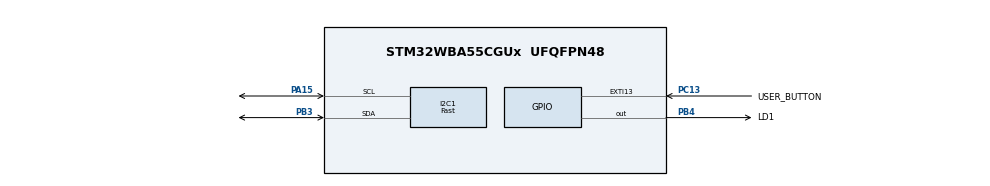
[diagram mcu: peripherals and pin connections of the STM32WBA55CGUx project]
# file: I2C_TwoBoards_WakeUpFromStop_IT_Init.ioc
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CORTEX_M33_NS.userName=CORTEX_M33
I2C1.AddressingMode=I2C_ADDRESSINGMODE_7BIT
I2C1.Analog_Filter=I2C_ANALOGFILTER_DISABLE
I2C1.DualAddressMode=I2C_DUALADDRESS_DISABLE
I2C1.GeneralCallMode=I2C_GENERALCALL_DISABLE
I2C1.I2C_Coeff_DF=0
I2C1.I2C_Fall_Time=10
I2C1.I2C_Rise_Time=100
I2C1.I2C_Speed_Mode=I2C_Fast
I2C1.NoStretchMode=I2C_NOSTRETCH_DISABLE
I2C1.OwnAddress=0x5A
I2C1.Speed=400
I2C1.Timing=0x40300B22
Mcu.Family=STM32WBA
Mcu.Name=STM32WBA55CGUx
Mcu.Package=UFQFPN48
NVIC.EXTI13_IRQn=true\:0\:0\:false\:false\:true\:true\:true\:true
NVIC.PriorityGroup=NVIC_PRIORITYGROUP_4
OSC_IN.Mode=HSE-External-Oscillator
OSC_IN.Signal=RCC_OSC_IN
OSC_OUT.Mode=HSE-External-Oscillator
OSC_OUT.Signal=RCC_OSC_OUT
PA15\ (JTDI).GPIO_Pu=GPIO_PULLUP
PA15\ (JTDI).GPIO_Speed=GPIO_SPEED_FREQ_HIGH
PA15\ (JTDI).Mode=I2C
PA15\ (JTDI).Signal=I2C1_SCL
PB3\ (JTDO/TRACESWO).GPIO_Pu=GPIO_PULLUP
PB3\ (JTDO/TRACESWO).GPIO_Speed=GPIO_SPEED_FREQ_HIGH
PB3\ (JTDO/TRACESWO).Mode=I2C
PB3\ (JTDO/TRACESWO).Signal=I2C1_SDA
PB4\ (NJTRST).GPIO_Label=LD1
PB4\ (NJTRST).PinState=GPIO_PIN_SET
PB4\ (NJTRST).Signal=GPIO_Output
PC13.GPIO_Label=USER_BUTTON
PC13.GPIO_ModeDefaultEXTI=GPIO_MODE_IT_FALLING
PC13.GPIO_PuPd=GPIO_PULLUP
PC13.Signal=GPXTI13
ProjectManager.HeapSize=0x200
ProjectManager.StackSize=0x400
ProjectManager.TargetToolchain=EWARM V9.20
RCC.ADCFreq_Value=100000000
RCC.AHB5CLKDivider=DIV4
RCC.AHBFreq_Value=100000000
RCC.APB1Freq_Value=100000000
RCC.APB1TimFreq_Value=100000000
RCC.APB2Freq_Value=100000000
RCC.APB2TimFreq_Value=100000000
RCC.CortexFreq_Value=12500000
RCC.HCLKFreq_Value=100000000
RCC.HSE_VALUE=32000000
RCC.HSI_VALUE=16000000
RCC.LSE_VALUE=32768
RCC.LSI1_VALUE=32000
RCC.LSI2_VALUE=32000
RCC.PLLFRACN=0
RCC.PLLM=4
RCC.PLLN=25
RCC.PLLSourceVirtual=RCC_PLLSOURCE_HSE
RCC.SYSCLKFreq_VALUE=100000000
RCC.SYSCLKSourceVirtual=RCC_SYSCLKSOURCE_PLLCLK
RCC.VCOOutputFreq_Value=200000000
VP_CORTEX_M33_NS_VS_Hclk.Mode=Hclk_Mode
VP_ICACHE_VS_ICACHE.Mode=DirectMappedCache
VP_MEMORYMAP_VS_MEMORYMAP.Mode=CurAppReg
VP_PWR_VS_SECSignals.Mode=Security/Privilege
board=custom

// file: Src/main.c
/* USER CODE BEGIN Header */
/**
  ******************************************************************************
  * @file    Examples_LL/I2C/I2C_TwoBoards_WakeUpFromStop_IT_Init/Src/main.c
  * @author  MCD Application Team
  * @brief   This example describes how to send/receive bytes over I2C IP using
  *          the STM32WBAxx I2C LL API.
  *          Peripheral initialization done using LL unitary services functions.
  ******************************************************************************
  * @attention
  *
  * Copyright (c) 2023 STMicroelectronics.
  * All rights reserved.
  *
  * This software is licensed under terms that can be found in the LICENSE file
  * in the root directory of this software component.
  * If no LICENSE file comes with this software, it is provided AS-IS.
  *
  ******************************************************************************
  */
/* USER CODE END Header */
#include "main.h"

/* USER CODE BEGIN PD */
/**
  * @brief I2C devices settings
  */

/**
  * @brief Define related to SlaveTransmit process
  */
#define SLAVE_BYTE_TO_SEND       0xA5

/* USER CODE END PD */

/* USER CODE BEGIN PV */

#ifndef SLAVE_BOARD
/**
  * @brief Variables related to MasterReceive process
  */
uint8_t      aReceiveBuffer[0xF] = {0};
__IO uint8_t ubReceiveIndex      = 0;
__IO uint8_t ubButtonPress       = 0;
#endif /* SLAVE_BOARD */

/* USER CODE END PV */

void SystemClock_Config(void);
static void MX_GPIO_Init(void);
static void MX_I2C1_Init(void);
static void MX_ICACHE_Init(void);
/* USER CODE BEGIN PFP */
#ifndef SLAVE_BOARD
#endif /* MASTER_BOARD */
void     LED_On(void);
void     LED_Off(void);
void     LED_Blinking(uint32_t Period);
#ifdef SLAVE_BOARD
void     Configure_PWR(void);
void     EnterSTOP0Mode(void);
#else /* MASTER_BOARD */
void     WaitForUserButtonPress(void);
void     Handle_I2C_Master(void);
#endif /* SLAVE_BOARD */

/* USER CODE END PFP */

int main(void)
{

  /* MCU Configuration--------------------------------------------------------*/

  /* Reset of all peripherals, Initializes the Flash interface and the Systick. */

  /* System interrupt init*/
  NVIC_SetPriorityGrouping(NVIC_PRIORITYGROUP_4);

  /* Enable PWR clock interface */

  LL_AHB4_GRP1_EnableClock(LL_AHB4_GRP1_PERIPH_PWR);

  /* Configure the system clock */
  SystemClock_Config();

  /* Initialize all configured peripherals */
  MX_GPIO_Init();
  MX_I2C1_Init();
  MX_ICACHE_Init();
  /* USER CODE BEGIN 2 */
#ifndef SLAVE_BOARD
#endif /* SLAVE_BOARD */

  /* Set LD1 Off */
  LED_Off();

#ifdef SLAVE_BOARD
  /* Configure Power IP */
  Configure_PWR();

  /* Enter Stop0 mode */
  EnterSTOP0Mode();
#else /* MASTER_BOARD */
  /* Wait for USER push-button press to start transfer */
  WaitForUserButtonPress();

  /* Handle I2C1 events (Master) */
  Handle_I2C_Master();
#endif /* SLAVE_BOARD */

  /* USER CODE END 2 */

  /* Infinite loop */
  while (1)
  {

  }
}

void SystemClock_Config(void)
{
  LL_FLASH_SetLatency(LL_FLASH_LATENCY_3);
  while(LL_FLASH_GetLatency()!= LL_FLASH_LATENCY_3)
  {
  }

  LL_PWR_SetRegulVoltageScaling(LL_PWR_REGU_VOLTAGE_SCALE1);
  LL_RCC_HSE_Enable();

   /* Wait till HSE is ready */
  while(LL_RCC_HSE_IsReady() != 1)
  {
  }

  LL_RCC_PLL1_ConfigDomain_SYS(LL_RCC_PLL1SOURCE_HSE, 4, 25, 2);
  LL_RCC_PLL1_EnableDomain_PLL1R();
  LL_RCC_PLL1_SetVCOInputRange(LL_RCC_PLLINPUTRANGE_8_16);
  LL_RCC_PLL1_Enable();

   /* Wait till PLL is ready */
  while(LL_RCC_PLL1_IsReady() != 1)
  {
  }

  LL_RCC_SetSysClkSource(LL_RCC_SYS_CLKSOURCE_PLL1R);

   /* Wait till System clock is ready */
  while(LL_RCC_GetSysClkSource() != LL_RCC_SYS_CLKSOURCE_STATUS_PLL1R)
  {
  }

  LL_RCC_SetAHBPrescaler(LL_RCC_SYSCLK_DIV_1);
  LL_RCC_SetAHB5Prescaler(LL_RCC_AHB5_DIV_4);
  LL_RCC_SetAPB1Prescaler(LL_RCC_APB1_DIV_1);
  LL_RCC_SetAPB2Prescaler(LL_RCC_APB2_DIV_1);
  LL_RCC_SetAPB7Prescaler(LL_RCC_APB7_DIV_1);

  LL_Init1msTick(100000000);

  LL_SetSystemCoreClock(100000000);
}

static void MX_I2C1_Init(void)
{

  LL_I2C_InitTypeDef I2C_InitStruct = {0};

  LL_GPIO_InitTypeDef GPIO_InitStruct = {0};

  LL_RCC_SetI2CClockSource(LL_RCC_I2C1_CLKSOURCE_PCLK1);

  LL_AHB2_GRP1_EnableClock(LL_AHB2_GRP1_PERIPH_GPIOB);
  LL_AHB2_GRP1_EnableClock(LL_AHB2_GRP1_PERIPH_GPIOA);
  /**I2C1 GPIO Configuration
  PB3 (JTDO/TRACESWO)   ------> I2C1_SDA
  PA15 (JTDI)   ------> I2C1_SCL
  */
  GPIO_InitStruct.Pin = LL_GPIO_PIN_3;
  GPIO_InitStruct.Mode = LL_GPIO_MODE_ALTERNATE;
  GPIO_InitStruct.Speed = LL_GPIO_SPEED_FREQ_HIGH;
  GPIO_InitStruct.OutputType = LL_GPIO_OUTPUT_OPENDRAIN;
  GPIO_InitStruct.Pull = LL_GPIO_PULL_UP;
  GPIO_InitStruct.Alternate = LL_GPIO_AF_4;
  LL_GPIO_Init(GPIOB, &GPIO_InitStruct);

  GPIO_InitStruct.Pin = LL_GPIO_PIN_15;
  GPIO_InitStruct.Mode = LL_GPIO_MODE_ALTERNATE;
  GPIO_InitStruct.Speed = LL_GPIO_SPEED_FREQ_HIGH;
  GPIO_InitStruct.OutputType = LL_GPIO_OUTPUT_OPENDRAIN;
  GPIO_InitStruct.Pull = LL_GPIO_PULL_UP;
  GPIO_InitStruct.Alternate = LL_GPIO_AF_4;
  LL_GPIO_Init(GPIOA, &GPIO_InitStruct);

  /* Peripheral clock enable */
  LL_APB1_GRP1_EnableClock(LL_APB1_GRP1_PERIPH_I2C1);

  /* USER CODE BEGIN I2C1_Init 1 */
#ifdef SLAVE_BOARD
  /* Set I2C1 clock source as SYSCLK */
  LL_RCC_SetI2CClockSource(LL_RCC_I2C1_CLKSOURCE_HSI);
#endif
  /* Configure NVIC for I2C1 */
  /* Configure Event IT:
   *  - Set priority for I2C1_EV_IRQn
   *  - Enable I2C1_EV_IRQn
   */
  NVIC_SetPriority(I2C1_EV_IRQn, 0);
  NVIC_EnableIRQ(I2C1_EV_IRQn);

  /* Configure Error IT:
   *  - Set priority for I2C1_ER_IRQn
   *  - Enable I2C1_ER_IRQn
   */
  NVIC_SetPriority(I2C1_ER_IRQn, 0);
  NVIC_EnableIRQ(I2C1_ER_IRQn);

  /* USER CODE END I2C1_Init 1 */

  /** I2C Initialization
  */
  LL_I2C_EnableAutoEndMode(I2C1);
  LL_I2C_DisableOwnAddress2(I2C1);
  LL_I2C_DisableGeneralCall(I2C1);
  LL_I2C_EnableClockStretching(I2C1);
  I2C_InitStruct.PeripheralMode = LL_I2C_MODE_I2C;
  I2C_InitStruct.Timing = 0x40300B22;
  I2C_InitStruct.AnalogFilter = LL_I2C_ANALOGFILTER_DISABLE;
  I2C_InitStruct.DigitalFilter = 0;
  I2C_InitStruct.OwnAddress1 = 0x5A;
  I2C_InitStruct.TypeAcknowledge = LL_I2C_ACK;
  I2C_InitStruct.OwnAddrSize = LL_I2C_OWNADDRESS1_7BIT;
  LL_I2C_Init(I2C1, &I2C_InitStruct);
  LL_I2C_SetOwnAddress2(I2C1, 0, LL_I2C_OWNADDRESS2_NOMASK);
  /* USER CODE BEGIN I2C1_Init 2 */

#ifdef SLAVE_BOARD
  /* Configure the Own Address1 :
   *  - OwnAddress1 is SLAVE_OWN_ADDRESS
   *  - OwnAddrSize is LL_I2C_OWNADDRESS1_7BIT
   *  - Own Address1 is enabled
   */
  LL_I2C_SetOwnAddress1(I2C1, SLAVE_OWN_ADDRESS, LL_I2C_OWNADDRESS1_7BIT);
  LL_I2C_EnableOwnAddress1(I2C1);

  /* Enable Wake Up From Stop */
  LL_I2C_EnableWakeUpFromStop(I2C1);

  /*Enable I2C1 address match/error interrupts:
   *  - Enable Address Match Interrupt
   *  - Enable Not acknowledge received interrupt
   *  - Enable Error interrupts
   *  - Enable Stop interrupt
   */
  LL_I2C_EnableIT_ADDR(I2C1);

#else /* MASTER_BOARD */
  /* Enable I2C1 transfer complete/error interrupts:
   *  - Enable Receive Interrupt
   *  - Enable Not acknowledge received interrupt
   *  - Enable Error interrupts
   *  - Enable Stop interrupt
   */
  LL_I2C_EnableIT_RX(I2C1);
#endif /* SLAVE_BOARD */
  LL_I2C_EnableIT_NACK(I2C1);
  LL_I2C_EnableIT_ERR(I2C1);
  LL_I2C_EnableIT_STOP(I2C1);

  /* USER CODE END I2C1_Init 2 */

}

static void MX_ICACHE_Init(void)
{

  /** Enable instruction cache in 1-way (direct mapped cache)
  */
  LL_ICACHE_SetMode(LL_ICACHE_1WAY);
  LL_ICACHE_Enable();

}

static void MX_GPIO_Init(void)
{
  LL_EXTI_InitTypeDef EXTI_InitStruct = {0};
  LL_GPIO_InitTypeDef GPIO_InitStruct = {0};

  /* GPIO Ports Clock Enable */
  LL_AHB2_GRP1_EnableClock(LL_AHB2_GRP1_PERIPH_GPIOC);
  LL_AHB2_GRP1_EnableClock(LL_AHB2_GRP1_PERIPH_GPIOB);
  LL_AHB2_GRP1_EnableClock(LL_AHB2_GRP1_PERIPH_GPIOA);

  /**/
  LL_GPIO_SetOutputPin(LD1_GPIO_Port, LD1_Pin);

  /**/
  LL_EXTI_SetEXTISource(LL_EXTI_CONFIG_PORTC, LL_EXTI_CONFIG_LINE13);

  /**/
  EXTI_InitStruct.Line_0_31 = LL_EXTI_LINE_13;
  EXTI_InitStruct.LineCommand = ENABLE;
  EXTI_InitStruct.Mode = LL_EXTI_MODE_IT;
  EXTI_InitStruct.Trigger = LL_EXTI_TRIGGER_FALLING;
  LL_EXTI_Init(&EXTI_InitStruct);

  /**/
  LL_GPIO_SetPinPull(USER_BUTTON_GPIO_Port, USER_BUTTON_Pin, LL_GPIO_PULL_UP);

  /**/
  LL_GPIO_SetPinMode(USER_BUTTON_GPIO_Port, USER_BUTTON_Pin, LL_GPIO_MODE_INPUT);

  /**/
  GPIO_InitStruct.Pin = LD1_Pin;
  GPIO_InitStruct.Mode = LL_GPIO_MODE_OUTPUT;
  GPIO_InitStruct.Speed = LL_GPIO_SPEED_FREQ_LOW;
  GPIO_InitStruct.OutputType = LL_GPIO_OUTPUT_PUSHPULL;
  GPIO_InitStruct.Pull = LL_GPIO_PULL_NO;
  LL_GPIO_Init(LD1_GPIO_Port, &GPIO_InitStruct);

  /* EXTI interrupt init*/
  NVIC_SetPriority(EXTI13_IRQn, NVIC_EncodePriority(NVIC_GetPriorityGrouping(),0, 0));
  NVIC_EnableIRQ(EXTI13_IRQn);

}

/* USER CODE BEGIN 4 */
#ifndef SLAVE_BOARD
#endif /* MASTER_BOARD */

#ifdef SLAVE_BOARD
/**
  * @brief  Function to configure and initialize PWR IP.
  * @param  None
  * @retval None
  */
void Configure_PWR(void)
{
}

/**
  * @brief  Function to configure and enter in Stop0 Mode.
  * @param  None
  * @retval None
  */
void EnterSTOP0Mode(void)
{
  /** Request to enter Stop0 mode:
    *  - Following procedure describe in STM32WBAxx Reference Manual
    *  - See PWR part, section Low-power modes, STOP0 mode
    */
  /* Set STOP0 mode when CPU enters deepsleep */
  LL_PWR_SetPowerMode(LL_PWR_MODE_STOP0);

  /* Set SLEEPDEEP bit of Cortex System Control Register */
  LL_LPM_EnableDeepSleep();

  /* Request Wait For Interrupt */
  __WFI();
}
#endif /* SLAVE_BOARD */

/**
  * @brief  Turn-on LD1.
  * @param  None
  * @retval None
  */
void LED_On(void)
{
  /* Turn LD1 on */
  LL_GPIO_ResetOutputPin(LD1_GPIO_Port, LD1_Pin);
}

/**
  * @brief  Turn-off LD1.
  * @param  None
  * @retval None
  */
void LED_Off(void)
{
  /* Turn LD1 off */
  LL_GPIO_SetOutputPin(LD1_GPIO_Port, LD1_Pin);
}

/**
  * @brief  Set LD1 to Blinking mode for an infinite loop (toggle period based on value provided as input parameter).
  * @param  Period : Period of time (in ms) between each toggling of LED
  *   This parameter can be user defined values. Pre-defined values used in that example are :
  *     @arg LED_BLINK_FAST : Fast Blinking
  *     @arg LED_BLINK_SLOW : Slow Blinking
  *     @arg LED_BLINK_ERROR : Error specific Blinking
  * @retval None
  */
void LED_Blinking(uint32_t Period)
{
  /* Turn LD1 on */
  LL_GPIO_ResetOutputPin(LD1_GPIO_Port, LD1_Pin);

  /* Toggle IO in an infinite loop */
  while (1)
  {
    LL_GPIO_TogglePin(LD1_GPIO_Port, LD1_Pin);
    LL_mDelay(Period);
  }
}

/******************************************************************************/
/*   IRQ HANDLER TREATMENT Functions                                          */
/******************************************************************************/
#ifdef SLAVE_BOARD
/**
  * @brief  Function called from I2C IRQ Handler when TXIS flag is set
  *         Function is in charge of transmit a byte on I2C lines.
  * @param  None
  * @retval None
  */
void Slave_Ready_To_Transmit_Callback(void)
{
  /* Send the Byte requested by the Master */
  LL_I2C_TransmitData8(I2C1, SLAVE_BYTE_TO_SEND);
}

/**
  * @brief  Function called from I2C IRQ Handler when STOP flag is set
  *         LD1 is On if data are correct.
  * @param  None
  * @retval None
  */
void Slave_Complete_Callback(void)
{
  /* Turn LD1 On:
   *  - Expected bytes have been sent
   *  - Slave Tx sequence completed successfully
   */
  LED_On();
}
#else /* MASTER_BOARD */
/**
  * @brief  Wait for USER push-button press to start transfer.
  * @param  None
  * @retval None
  */
/*  */
void WaitForUserButtonPress(void)
{
  while (ubButtonPress == 0)
  {
    LL_GPIO_TogglePin(LD1_GPIO_Port, LD1_Pin);
    LL_mDelay(LED_BLINK_FAST);
  }
  /* Turn LD1 off */
  LL_GPIO_SetOutputPin(LD1_GPIO_Port, LD1_Pin);
}

/**
  * @brief  Function to manage USER push-button
  * @param  None
  * @retval None
  */
void UserButton_Callback(void)
{
  /* Update USER push-button variable : to be checked in waiting loop in main program */
  ubButtonPress = 1;
}

/**
  * @brief  This Function handle Master events to perform a transmission process
  * @note  This function is composed in one step :
  *        -1- Initiate a Start condition to the Slave device
  * @param  None
  * @retval None
  */
void Handle_I2C_Master(void)
{
  /* (1) Initiate a Start condition to the Slave device ***********************/

  /* Master Generate Start condition for a read request:
   *  - to the Slave with a 7-Bit SLAVE_OWN_ADDRESS
   *  - with a auto stop condition generation when receive 1 byte
   */
  LL_I2C_HandleTransfer(I2C1, SLAVE_OWN_ADDRESS, LL_I2C_ADDRSLAVE_7BIT, 1, LL_I2C_MODE_AUTOEND, LL_I2C_GENERATE_START_READ);
}

/**
  * @brief  Function called from I2C IRQ Handler when RXNE flag is set
  *         Function is in charge of reading byte received on I2C lines.
  * @param  None
  * @retval None
  */
void Master_Reception_Callback(void)
{
  /* Read character in Receive Data register.
  RXNE flag is cleared by reading data in RXDR register */
  aReceiveBuffer[ubReceiveIndex++] = LL_I2C_ReceiveData8(I2C1);
}

/**
  * @brief  Function called from I2C IRQ Handler when STOP flag is set
  *         Function is in charge of checking data received,
  *         LD1 is On if data are correct.
  * @param  None
  * @retval None
  */
void Master_Complete_Callback(void)
{
  /* Read Received character. RXNE flag is cleared by reading of RXDR register */
  if (aReceiveBuffer[ubReceiveIndex - 1] == SLAVE_BYTE_TO_SEND)
  {
    /* Turn LD1 On:
     *  - Expected byte has been received
     *  - Master Rx sequence completed successfully
     */
    LED_On();
  }
  else
  {
    /* Call Error function */
    Error_Callback();
  }
}
#endif /* SLAVE_BOARD */

/**
  * @brief  Function called in case of error detected in I2C IT Handler
  * @param  None
  * @retval None
  */
void Error_Callback(void)
{
#ifdef SLAVE_BOARD
  /* Disable I2C1_EV_IRQn */
  NVIC_DisableIRQ(I2C1_EV_IRQn);
#else
  /* Disable I2C1_EV_IRQn */
  NVIC_DisableIRQ(I2C1_EV_IRQn);
#endif /* SLAVE_BOARD */

  /* Disable I2C1_ER_IRQn */
#ifdef SLAVE_BOARD
  NVIC_DisableIRQ(I2C1_ER_IRQn);
#else
  /* Disable I2C1_ER_IRQn */
  NVIC_DisableIRQ(I2C1_ER_IRQn);
#endif /* SLAVE_BOARD */

  /* Unexpected event : Set LD1 to Blinking mode to indicate error occurs */
  LED_Blinking(LED_BLINK_ERROR);
}

/* USER CODE END 4 */

void Error_Handler(void)
{
}
